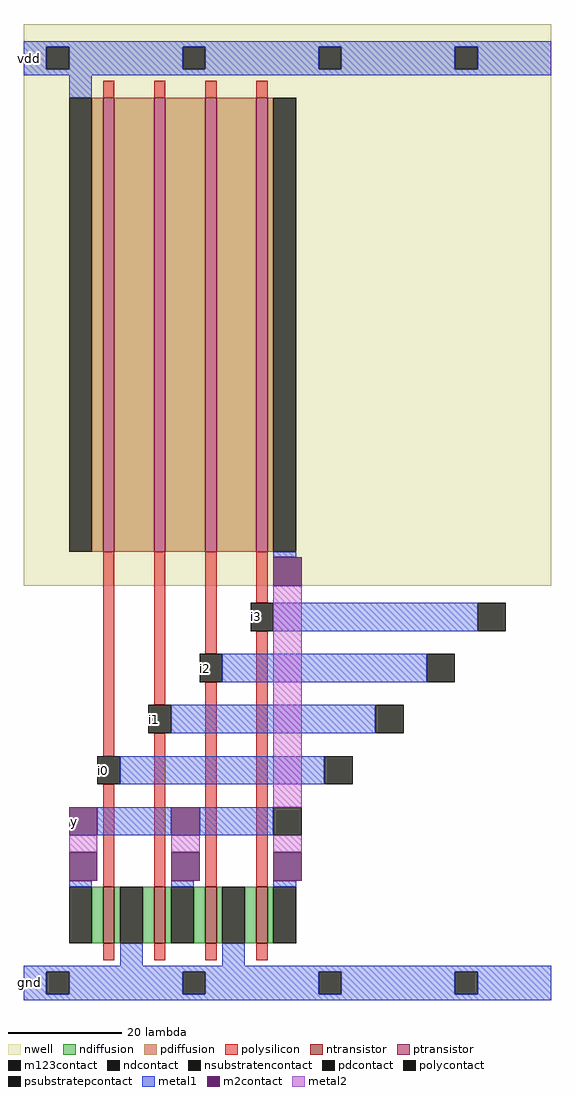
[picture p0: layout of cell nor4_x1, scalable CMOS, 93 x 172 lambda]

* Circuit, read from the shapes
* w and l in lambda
.subckt nor4_x1 i0 i1 i2 i3 y vdd gnd
M1 gnd i0 y gnd nfet w=10 l=2
M2 y i1 gnd gnd nfet w=10 l=2
M3 gnd i2 y gnd nfet w=10 l=2
M4 y i3 gnd gnd nfet w=10 l=2
M5 n1 i0 vdd vdd pfet w=80 l=2
M6 n2 i1 n1 vdd pfet w=80 l=2
M7 n3 i2 n2 vdd pfet w=80 l=2
M8 y i3 n3 vdd pfet w=80 l=2
.ends

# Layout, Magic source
magic
tech scmos
<< nwell >>
rect 0 73 93 172
<< ntransistor >>
rect 14 10 16 20
rect 23 10 25 20
rect 32 10 34 20
rect 41 10 43 20
<< ptransistor >>
rect 14 79 16 159
rect 23 79 25 159
rect 32 79 34 159
rect 41 79 43 159
<< ndiffusion >>
rect 12 10 14 20
rect 16 10 17 20
rect 21 10 23 20
rect 25 10 26 20
rect 30 10 32 20
rect 34 10 35 20
rect 39 10 41 20
rect 43 10 44 20
<< pdiffusion >>
rect 12 79 14 159
rect 16 79 23 159
rect 25 79 32 159
rect 34 79 41 159
rect 43 79 44 159
<< ndcontact >>
rect 8 10 12 20
rect 17 10 21 20
rect 26 10 30 20
rect 35 10 39 20
rect 44 10 48 20
<< pdcontact >>
rect 8 79 12 159
rect 44 79 48 159
<< psubstratepcontact >>
rect 4 1 8 5
rect 28 1 32 5
rect 52 1 56 5
rect 76 1 80 5
<< nsubstratencontact >>
rect 4 164 8 168
rect 28 164 32 168
rect 52 164 56 168
rect 76 164 80 168
<< polysilicon >>
rect 14 159 16 162
rect 23 159 25 162
rect 32 159 34 162
rect 41 159 43 162
rect 14 43 16 79
rect 23 52 25 79
rect 32 61 34 79
rect 41 70 43 79
rect 14 20 16 38
rect 23 20 25 47
rect 32 20 34 56
rect 41 20 43 65
rect 14 7 16 10
rect 23 7 25 10
rect 32 7 34 10
rect 41 7 43 10
<< polycontact >>
rect 40 65 44 70
rect 31 56 35 61
rect 22 47 26 52
rect 13 38 17 43
<< metal1 >>
rect 0 168 93 169
rect 0 164 4 168
rect 8 164 28 168
rect 32 164 52 168
rect 56 164 76 168
rect 80 164 93 168
rect 0 163 93 164
rect 8 159 12 163
rect 44 78 48 79
rect 44 65 80 70
rect 35 56 71 61
rect 26 47 62 52
rect 17 38 53 43
rect 13 29 26 34
rect 31 29 44 34
rect 8 20 12 21
rect 26 20 30 21
rect 44 20 48 21
rect 17 6 21 10
rect 35 6 39 10
rect 0 5 93 6
rect 0 1 4 5
rect 8 1 28 5
rect 32 1 52 5
rect 56 1 76 5
rect 80 1 93 5
rect 0 0 93 1
<< m2contact >>
rect 44 73 49 78
rect 8 29 13 34
rect 26 29 31 34
rect 8 21 13 26
rect 26 21 31 26
rect 44 21 49 26
<< metal2 >>
rect 44 34 49 73
rect 8 26 13 29
rect 26 26 31 29
rect 44 26 49 29
<< m123contact >>
rect 80 65 85 70
rect 71 56 76 61
rect 62 47 67 52
rect 53 38 58 43
rect 44 29 49 34
<< labels >>
rlabel metal1 13 38 15 43 0 i0
port 1 nsew
rlabel metal1 22 47 24 52 0 i1
port 2 nsew
rlabel metal1 31 56 33 61 0 i2
port 3 nsew
rlabel metal1 40 65 42 70 0 i3
port 4 nsew
rlabel m2contact 8 29 10 34 0 y
port 5 nsew
rlabel metal1 0 163 2 169 0 vdd
port 6 nsew
rlabel metal1 0 0 2 6 0 gnd
port 7 nsew
<< end >>
